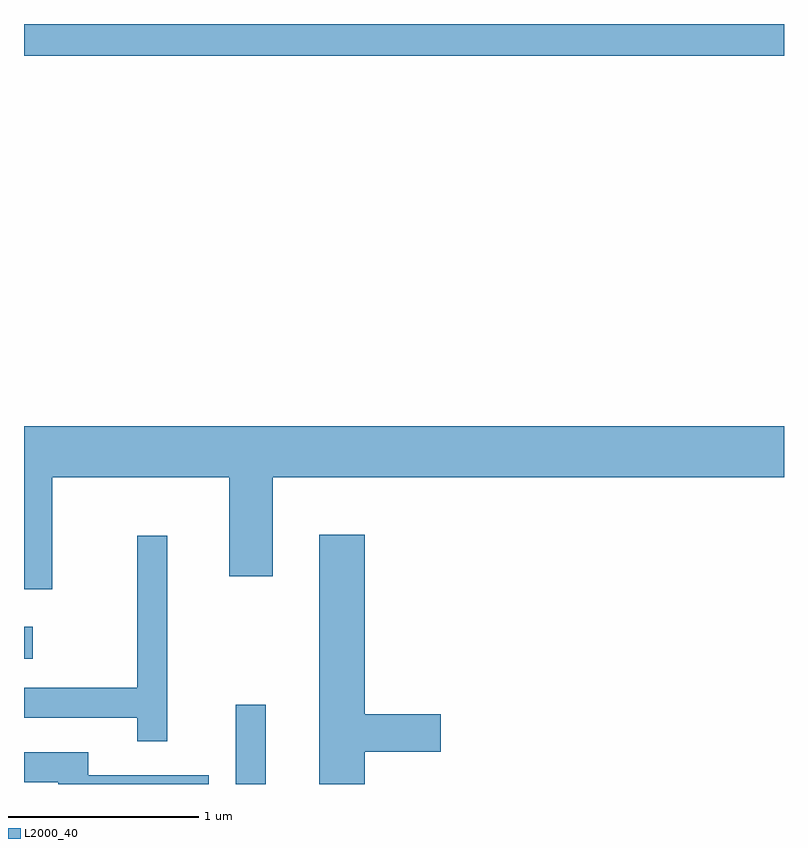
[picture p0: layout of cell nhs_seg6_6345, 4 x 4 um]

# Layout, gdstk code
import gdstk
lib = gdstk.Library(unit=1e-6, precision=1e-09)
def R(c, l, rs):  # rectangles x0, y0, x1, y1
    for r in rs: c.add(gdstk.rectangle(r[:2], r[2:], *l))
def P(c, l, *ps):  # polygons
    for p in ps: c.add(gdstk.Polygon(p, *l))
L2000_40 = (2000, 40)

nhs_seg6_6345 = lib.new_cell('nhs_seg6_6345')
R(nhs_seg6_6345, L2000_40, [(378.726,1586.162,378.884,1586.578), (377.611,1586.821,377.658,1586.989), (377.611,1589.996,381.611,1590.162)])
P(nhs_seg6_6345, L2000_40, [(377.759,1587.776),(378.691,1587.776),(378.691,1587.256),(378.919,1587.256),(378.919,1587.776),(381.611,1587.776),(381.611,1588.044),(377.611,1588.044),(377.611,1587.186),(377.759,1587.186)],
  [(379.404,1586.331),(379.804,1586.331),(379.804,1586.529),(379.404,1586.529),(379.404,1587.474),(379.166,1587.474),(379.166,1586.162),(379.404,1586.162)],
  [(378.364,1587.468),(378.206,1587.468),(378.206,1586.669),(377.611,1586.669),(377.611,1586.511),(378.206,1586.511),(378.206,1586.388),(378.364,1586.388)],
  [(378.583,1586.209),(377.949,1586.209),(377.949,1586.329),(377.611,1586.329),(377.611,1586.171),(377.791,1586.171),(377.791,1586.162),(378.583,1586.162)])

lib.write_gds('nhs_seg6_6345.gds')
